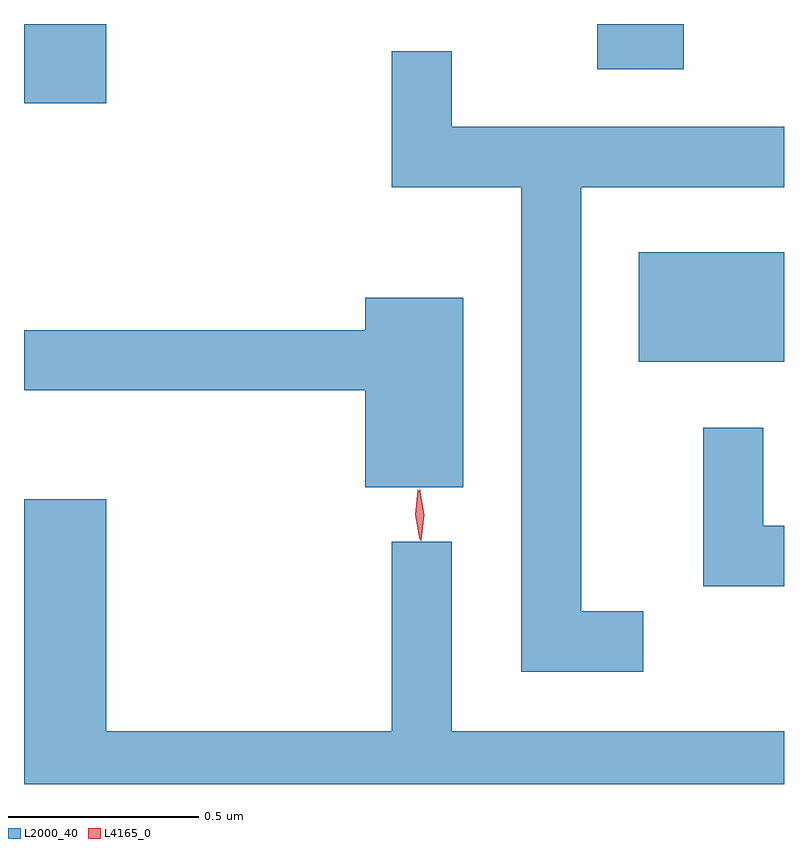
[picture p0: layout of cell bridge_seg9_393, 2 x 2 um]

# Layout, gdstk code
import gdstk
lib = gdstk.Library(unit=1e-6, precision=1e-09)
def R(c, l, rs):  # rectangles x0, y0, x1, y1
    for r in rs: c.add(gdstk.rectangle(r[:2], r[2:], *l))
def P(c, l, *ps):  # polygons
    for p in ps: c.add(gdstk.Polygon(p, *l))
L2000_40 = (2000, 40)
L4165_0 = (4165, 0)

bridge_seg9_393 = lib.new_cell('bridge_seg9_393')
R(bridge_seg9_393, L2000_40, [(995.966,1995.276,996.348,1995.564), (994.348,1995.956,994.564,1996.165), (995.856,1996.046,996.084,1996.165)])
P(bridge_seg9_393, L2000_40, [(995.978,1994.619),(995.814,1994.619),(995.814,1995.736),(996.348,1995.736),(996.348,1995.894),(995.474,1995.894),(995.474,1996.093),(995.316,1996.093),(995.316,1995.736),(995.656,1995.736),(995.656,1994.461),(995.978,1994.461)],
  [(995.504,1995.444),(995.246,1995.444),(995.246,1995.359),(994.348,1995.359),(994.348,1995.201),(995.246,1995.201),(995.246,1994.946),(995.504,1994.946)],
  [(996.348,1994.844),(996.294,1994.844),(996.294,1995.103),(996.136,1995.103),(996.136,1994.686),(996.348,1994.686)],
  [(996.348,1994.304),(995.474,1994.304),(995.474,1994.803),(995.316,1994.803),(995.316,1994.304),(994.564,1994.304),(994.564,1994.914),(994.348,1994.914),(994.348,1994.165),(996.348,1994.165)])
P(bridge_seg9_393, L4165_0, [(995.389,1994.808),(995.377,1994.873),(995.384,1994.939),(995.385,1994.939),(995.385,1994.939),(995.397,1994.874),(995.39,1994.808),(995.39,1994.808)],
  [(995.392,1994.805),(995.392,1994.805),(995.381,1994.874),(995.389,1994.942),(995.39,1994.942),(995.39,1994.942),(995.401,1994.874),(995.393,1994.805)])

lib.write_gds('bridge_seg9_393.gds')
